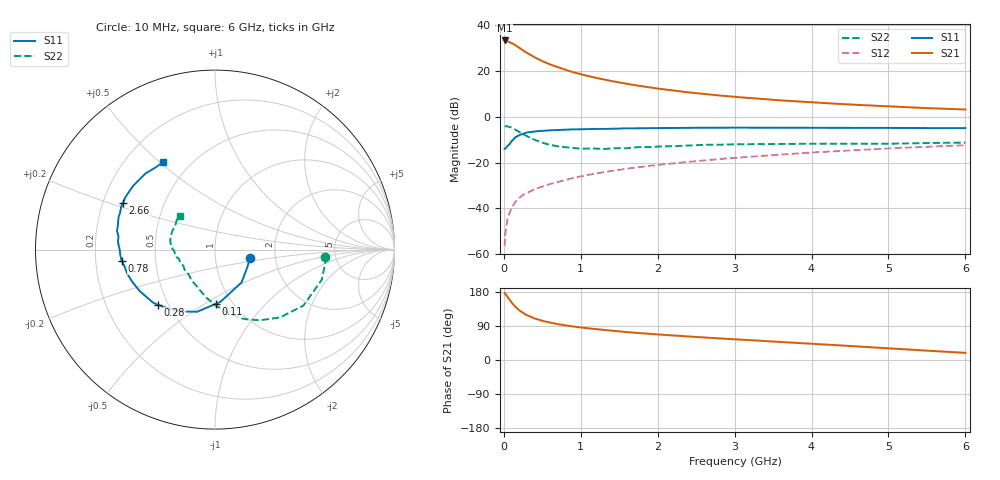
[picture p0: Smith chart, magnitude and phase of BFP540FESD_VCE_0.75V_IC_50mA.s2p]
! Infineon Technologies  Discrete & RF Semiconductors
! BFP540FESD
! VCE = 0.75 V,  IC =  50 mA
! Common Emitter S-Parameters:  Nov 2015
# GHz  S  MA  R  50
!  f  S11  S21  S12  S22
! GHz  MAG  ANG  MAG  ANG  MAG  ANG  MAG  ANG
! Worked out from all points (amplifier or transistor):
!   210 points, 10 MHz to 6 GHz, reference 50 ohm
!   highest |S21| = 33.3 dB at 10 MHz (marker M1)
!   |S21| within 3 dB of that: start of sweep to 191.4 MHz
!   unconditionally stable (mu >= 1): start of sweep to 64.46 MHz; 743.8 MHz to end of sweep
!   at 185 MHz: K = 0.70, MSG = 33.2 dB, |S12| = -35.9 dB
!   at 1.52 GHz: K = 1.12, MAG = 16.8 dB, |S12| = -23.1 dB
!   at 6 GHz: K = 1.22, MAG = 5.0 dB, |S12| = -12.4 dB
!   S11 on the Smith chart (normalised r, x): 10 MHz: 1.48, -0.14; 110 MHz: 0.84, -0.56; 280 MHz: 0.44, -0.34; 780 MHz: 0.31, -0.06; 2.66 GHz: 0.28, +0.22; 6 GHz: 0.36, +0.51
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0.01  0.2005 -13.0  46.23 177.2  0.0015 111.9  0.6169 -3.7
0.02  0.2037 -26.1  44.38 174.5  0.0028 97.0  0.6213 -4.6
0.05  0.2353 -50.9  44.34 165.7  0.0061 87.8  0.6182 -15.7
0.1  0.2928 -84.1  40.87 151.6  0.01 78.5  0.5831 -32.3
0.11  0.3022 -89.2  39.88 149.5  0.0108 76.3  0.5688 -34.8
0.15  0.3598 -105.9  36.53 140.2  0.0139 70.0  0.5242 -46.1
0.2  0.3975 -119.9  32.01 131.1  0.017 67.0  0.4663 -57.6
0.24  0.4194 -128.8  28.82 125.5  0.0192 65.1  0.427 -65.4
0.28  0.4417 -135.9  26.09 120.6  0.0209 64.1  0.3924 -71.9
0.3  0.4538 -139.1  24.82 118.1  0.0216 63.8  0.3763 -75.1
0.4  0.4787 -151.0  19.82 109.5  0.0261 63.0  0.3142 -88.6
0.5  0.495 -158.8  16.37 103.2  0.03 62.5  0.2716 -100.3
0.6  0.5064 -164.6  13.85 98.6  0.0339 63.7  0.2437 -109.3
0.78  0.5222 -172.9  10.84 92.0  0.0407 64.2  0.2184 -123.9
1.02  0.5321 179.4  8.309 85.4  0.0508 64.1  0.2015 -139.0
1.5  0.5561 169.4  5.585 75.4  0.0693 62.3  0.2071 -160.9
2.02  0.5676 160.7  4.08 67.1  0.0892 59.6  0.2244 -174.8
2.66  0.5752 153.4  3.07 58.8  0.1138 56.1  0.2451 174.8
3.1  0.5779 148.9  2.638 53.5  0.1305 53.2  0.2515 171.1
4.1  0.5767 140.6  2.019 41.7  0.1692 45.9  0.2582 160.3
5.1  0.572 131.3  1.658 29.6  0.207 36.7  0.2598 147.9
6  0.5658 120.5  1.44 18.8  0.2394 28.3  0.2728 136.2
